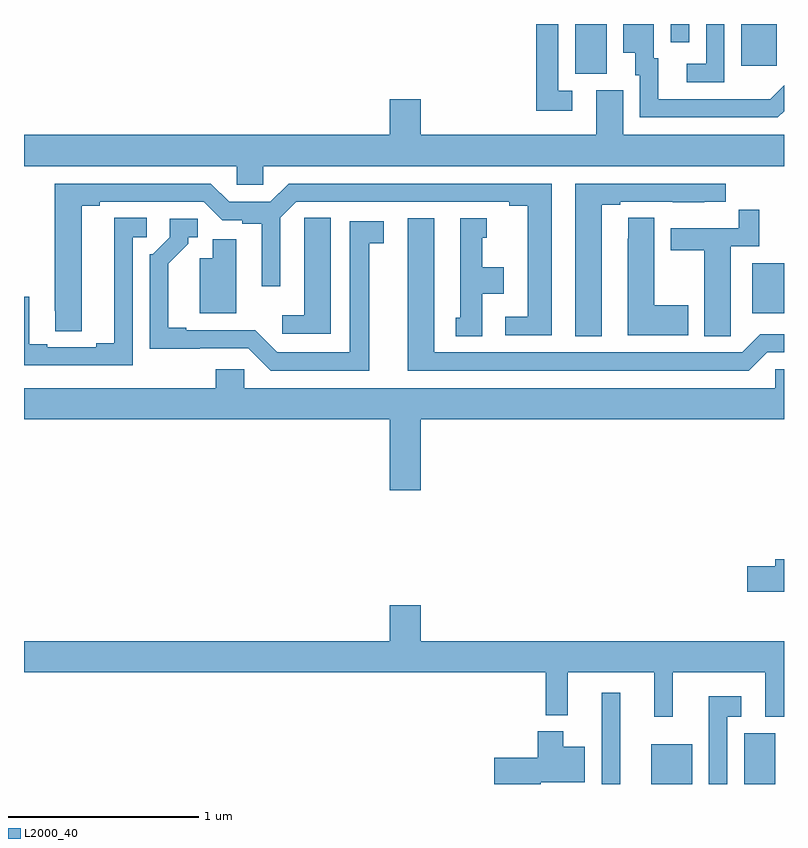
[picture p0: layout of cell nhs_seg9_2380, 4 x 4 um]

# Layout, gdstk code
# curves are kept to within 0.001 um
import gdstk
lib = gdstk.Library(unit=1e-6, precision=1e-09)
def R(c, l, rs):  # rectangles x0, y0, x1, y1
    for r in rs: c.add(gdstk.rectangle(r[:2], r[2:], *l))
def P(c, l, *ps):  # polygons
    for p in ps: c.add(gdstk.Polygon(p, *l))
L2000_40 = (2000, 40)

nhs_seg9_2380 = lib.new_cell('nhs_seg9_2380')
R(nhs_seg9_2380, L2000_40, [(250.041,1194.5,250.138,1194.979), (250.301,1194.5,250.516,1194.709), (250.79,1194.5,250.954,1194.768), (250.832,1196.978,251,1197.241), (249.902,1198.237,250.066,1198.5), (250.775,1198.281,250.963,1198.5), (250.404,1198.404,250.5,1198.5)])
P(nhs_seg9_2380, L2000_40, [(251,1198.042),(251,1198.178),(250.927,1198.105),(250.339,1198.104),(250.339,1198.32),(250.315,1198.32),(250.315,1198.5),(250.154,1198.5),(250.154,1198.349),(250.217,1198.349),(250.217,1198.23),(250.242,1198.23),(250.242,1198.008),(250.966,1198.008)],
  [(250.686,1198.5),(250.59,1198.5),(250.59,1198.29),(250.488,1198.29),(250.488,1198.194),(250.686,1198.194)],
  [(249.886,1198.149),(249.813,1198.149),(249.813,1198.5),(249.697,1198.5),(249.697,1198.044),(249.886,1198.044)],
  [(248.259,1197.752),(251,1197.752),(251,1197.916),(250.153,1197.916),(250.153,1198.152),(250.013,1198.152),(250.013,1197.916),(249.088,1197.916),(249.088,1198.105),(248.924,1198.105),(248.924,1197.916),(247,1197.916),(247,1197.752),(248.121,1197.752),(248.121,1197.654),(248.259,1197.654)],
  [(249.778,1197.66),(248.393,1197.66),(248.297,1197.564),(248.079,1197.564),(247.983,1197.66),(247.163,1197.66),(247.164,1196.884),(247.303,1196.884),(247.303,1197.544),(247.399,1197.544),(247.399,1197.564),(247.947,1197.564),(248.043,1197.468),(248.148,1197.468),(248.148,1197.448),(248.252,1197.448),(248.252,1197.12),(248.349,1197.12),(248.349,1197.48),(248.433,1197.564),(249.554,1197.564),(249.554,1197.544),(249.65,1197.544),(249.65,1196.958),(249.534,1196.958),(249.534,1196.862),(249.778,1196.862)],
  [(250.042,1197.549),(250.138,1197.549),(250.138,1197.564),(250.414,1197.564),(250.414,1197.563),(250.58,1197.563),(250.58,1197.564),(250.693,1197.564),(250.693,1197.66),(249.902,1197.66),(249.902,1196.857),(250.042,1196.857)],
  [(250.719,1196.968),(250.72,1196.968),(250.72,1197.33),(250.871,1197.33),(250.871,1197.523),(250.762,1197.523),(250.762,1197.426),(250.403,1197.426),(250.403,1197.31),(250.58,1197.31),(250.58,1196.857),(250.719,1196.857)],
  [(247.572,1197.378),(247.645,1197.378),(247.645,1197.479),(247.475,1197.479),(247.475,1196.819),(247.379,1196.819),(247.379,1196.799),(247.123,1196.799),(247.123,1196.814),(247.027,1196.814),(247.027,1197.065),(247,1197.065),(247,1196.703),(247.572,1196.703)],
  [(248.614,1197.479),(248.475,1197.479),(248.475,1197.371),(248.474,1197.371),(248.474,1196.968),(248.358,1196.968),(248.358,1196.871),(248.614,1196.871)],
  [(250.495,1197.021),(250.318,1197.021),(250.318,1197.479),(250.179,1197.479),(250.179,1197.371),(250.178,1197.371),(250.178,1196.861),(250.495,1196.861)],
  [(250.911,1196.772),(251,1196.772),(251,1196.868),(250.875,1196.868),(250.779,1196.772),(249.16,1196.772),(249.16,1197.478),(249.02,1197.478),(249.02,1196.676),(250.815,1196.676)],
  [(249.412,1197.08),(249.526,1197.08),(249.526,1197.22),(249.412,1197.22),(249.412,1197.375),(249.436,1197.375),(249.436,1197.478),(249.296,1197.478),(249.296,1196.955),(249.272,1196.955),(249.272,1196.857),(249.412,1196.857)],
  [(248.818,1197.346),(248.893,1197.346),(248.893,1197.462),(248.714,1197.462),(248.714,1196.772),(248.334,1196.772),(248.217,1196.889),(247.855,1196.889),(247.855,1196.902),(247.759,1196.902),(247.759,1197.238),(247.864,1197.343),(247.864,1197.378),(247.914,1197.378),(247.914,1197.474),(247.767,1197.474),(247.767,1197.378),(247.677,1197.288),(247.662,1197.288),(247.662,1196.792),(248.181,1196.793),(248.298,1196.676),(248.818,1196.676)],
  [(248.116,1197.366),(247.994,1197.366),(247.994,1197.268),(247.925,1197.268),(247.925,1196.978),(248.116,1196.978)],
  [(249.088,1196.42),(251,1196.42),(251,1196.682),(250.953,1196.682),(250.953,1196.584),(248.16,1196.584),(248.16,1196.682),(248.009,1196.682),(248.009,1196.584),(247,1196.584),(247,1196.42),(248.924,1196.42),(248.924,1196.046),(249.088,1196.046)],
  [(251,1195.682),(250.955,1195.682),(250.955,1195.646),(250.806,1195.646),(250.806,1195.511),(251,1195.511)],
  [(251,1195.252),(249.088,1195.252),(249.088,1195.441),(248.924,1195.441),(248.924,1195.252),(247,1195.252),(247,1195.088),(249.745,1195.088),(249.745,1194.863),(249.863,1194.863),(249.863,1195.088),(250.316,1195.088),(250.316,1194.855),(250.415,1194.855),(250.415,1195.088),(250.901,1195.088),(250.901,1194.853),(251,1194.853)],
  [(250.701,1194.855),(250.774,1194.855),(250.774,1194.961),(250.605,1194.961),(250.605,1194.5),(250.701,1194.5)],
  [(249.72,1194.509),(249.952,1194.509),(249.952,1194.697),(249.838,1194.697),(249.838,1194.778),(249.704,1194.778),(249.704,1194.639),(249.474,1194.639),(249.474,1194.5),(249.72,1194.5)])

lib.write_gds('nhs_seg9_2380.gds')
